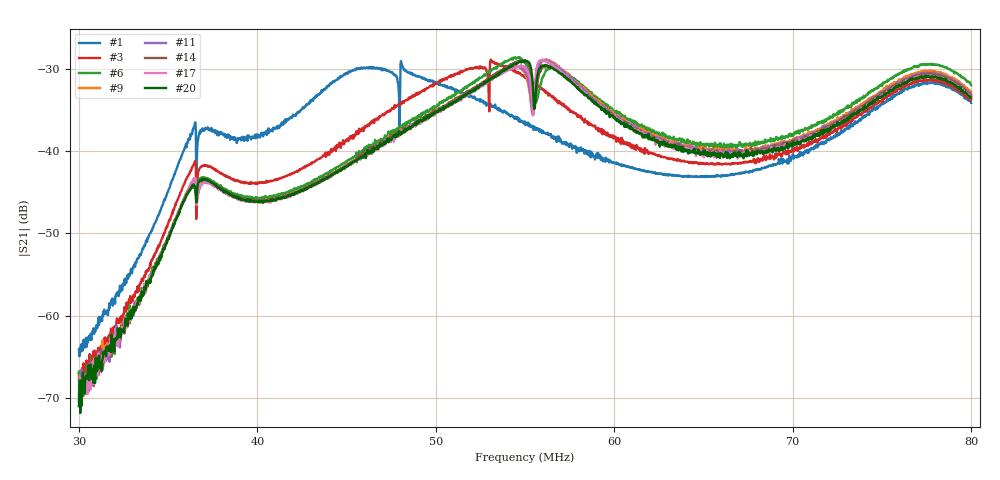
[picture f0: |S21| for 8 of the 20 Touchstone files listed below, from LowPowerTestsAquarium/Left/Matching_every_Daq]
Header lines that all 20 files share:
#  HZ  S  DB  R  50.00
! Rohde & Schwarz Vector Network Analyzer
! Rohde-Schwarz,ZNB8-4Port,1311601044102961,2.82
! freq[Hz]  db:S11  ang:S11  db:S12  ang:S12  db:S13  ang:S13  db:S14  ang:S14
!  db:S21  ang:S21  db:S22  ang:S22  db:S23  ang:S23  db:S24  ang:S24
!  db:S31  ang:S31  db:S32  ang:S32  db:S33  ang:S33  db:S34  ang:S34
!  db:S41  ang:S41  db:S42  ang:S42  db:S43  ang:S43  db:S44  ang:S44
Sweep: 30 MHz to 80 MHz
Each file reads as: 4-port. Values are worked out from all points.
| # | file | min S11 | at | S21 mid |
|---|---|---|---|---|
| 1 | IC3_Left_48p0MHz_DaqMLarge_1.s4p | -26.4 dB | 48 MHz | -36.8 dB at 55 MHz |
| 2 | IC3_Left_48p0MHz_DaqMLarge_3.s4p | -26.6 dB | 48 MHz | -36.5 dB at 55 MHz |
| 3 | IC3_Left_53p0MHz_DaqMLarge_1.s4p | -16.8 dB | 53 MHz | -31.1 dB at 55 MHz |
| 4 | IC3_Left_53p0MHz_DaqMLarge_3.s4p | -27.0 dB | 53 MHz | -31.1 dB at 55 MHz |
| 5 | IC3_Left_55p5MHz_DaqM00p0cm_1.s4p | -34.8 dB | 55.5 MHz | -31.9 dB at 55 MHz |
| 6 | IC3_Left_55p5MHz_DaqM00p0cm_3.s4p | -46.9 dB | 55.5 MHz | -29.3 dB at 55 MHz |
| 7 | IC3_Left_55p5MHz_DaqM01p0cm_1.s4p | -45.4 dB | 55.5 MHz | -30.9 dB at 55 MHz |
| 8 | IC3_Left_55p5MHz_DaqM01p0cm_3.s4p | -38.6 dB | 55.5 MHz | -29.3 dB at 55 MHz |
| 9 | IC3_Left_55p5MHz_DaqM02p0cm_1.s4p | -41.0 dB | 55.5 MHz | -30.5 dB at 55 MHz |
| 10 | IC3_Left_55p5MHz_DaqM02p0cm_3.s4p | -46.4 dB | 55.5 MHz | -29.2 dB at 55 MHz |
| 11 | IC3_Left_55p5MHz_DaqM03p0cm_1.s4p | -45.4 dB | 55.5 MHz | -30.4 dB at 55 MHz |
| 12 | IC3_Left_55p5MHz_DaqM03p0cm_3.s4p | -43.7 dB | 55.5 MHz | -29.1 dB at 55 MHz |
| 13 | IC3_Left_55p5MHz_DaqM04p0cm_1.s4p | -34.8 dB | 55.5 MHz | -30.2 dB at 55 MHz |
| 14 | IC3_Left_55p5MHz_DaqM04p0cm_3.s4p | -40.7 dB | 55.5 MHz | -29.1 dB at 55 MHz |
| 15 | IC3_Left_55p5MHz_DaqM05p0cm_1.s4p | -34.8 dB | 55.5 MHz | -29.9 dB at 55 MHz |
| 16 | IC3_Left_55p5MHz_DaqM05p0cm_3.s4p | -40.1 dB | 55.5 MHz | -29.1 dB at 55 MHz |
| 17 | IC3_Left_55p5MHz_DaqM06p0cm_1.s4p | -35.6 dB | 55.5 MHz | -29.9 dB at 55 MHz |
| 18 | IC3_Left_55p5MHz_DaqM06p0cm_3.s4p | -48.3 dB | 55.5 MHz | -29.1 dB at 55 MHz |
| 19 | IC3_Left_55p5MHz_DaqM07p0cm_1.s4p | -37.2 dB | 55.5 MHz | -29.9 dB at 55 MHz |
| 20 | IC3_Left_55p5MHz_DaqM07p0cm_3.s4p | -51.4 dB | 55.5 MHz | -29.0 dB at 55 MHz |
